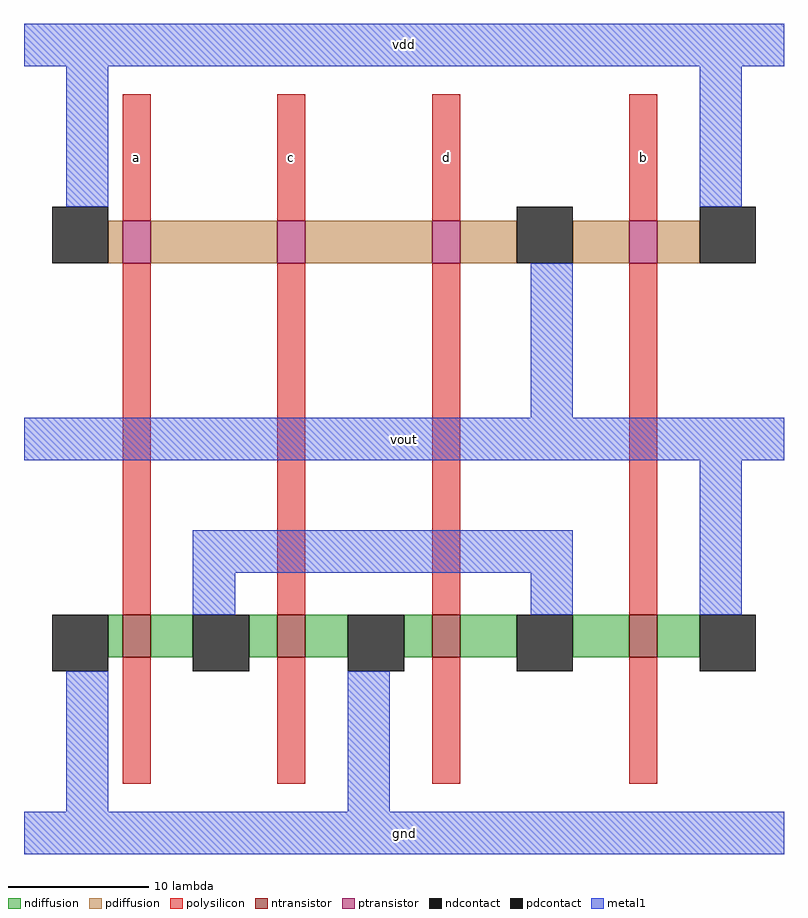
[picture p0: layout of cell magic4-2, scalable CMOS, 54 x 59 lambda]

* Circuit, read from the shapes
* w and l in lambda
.subckt magic4-2 a b c d gnd vdd vout
M1 n1 a gnd VSUBS nfet w=3 l=2
M2 gnd c n1 VSUBS nfet w=3 l=2
M3 n1 d gnd VSUBS nfet w=3 l=2
M4 vout b n1 VSUBS nfet w=3 l=2
M5 n2 a vdd NWELL pfet w=3 l=2
M6 n3 c n2 NWELL pfet w=3 l=2
M7 vout d n3 NWELL pfet w=3 l=2
M8 vdd b vout NWELL pfet w=3 l=2
.ends

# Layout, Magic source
magic
tech scmos
<< polysilicon >>
rect -16 6 -14 15
rect -5 6 -3 15
rect 6 6 8 15
rect 20 6 22 15
rect -16 -22 -14 3
rect -5 -22 -3 3
rect 6 -22 8 3
rect 20 -22 22 3
rect -16 -34 -14 -25
rect -5 -34 -3 -25
rect 6 -34 8 -25
rect 20 -34 22 -25
<< ndiffusion >>
rect -17 -25 -16 -22
rect -14 -25 -11 -22
rect -7 -25 -5 -22
rect -3 -25 0 -22
rect 4 -25 6 -22
rect 8 -25 12 -22
rect 16 -25 20 -22
rect 22 -25 25 -22
<< pdiffusion >>
rect -17 3 -16 6
rect -14 3 -5 6
rect -3 3 6 6
rect 8 3 12 6
rect 16 3 20 6
rect 22 3 25 6
<< metal1 >>
rect -23 17 31 20
rect -20 7 -17 17
rect 25 7 28 17
rect 13 -8 16 3
rect -23 -11 31 -8
rect -11 -19 16 -16
rect -11 -22 -8 -19
rect 13 -22 16 -19
rect 25 -22 28 -11
rect -20 -36 -17 -26
rect 0 -36 3 -26
rect -23 -39 31 -36
<< ntransistor >>
rect -16 -25 -14 -22
rect -5 -25 -3 -22
rect 6 -25 8 -22
rect 20 -25 22 -22
<< ptransistor >>
rect -16 3 -14 6
rect -5 3 -3 6
rect 6 3 8 6
rect 20 3 22 6
<< ndcontact >>
rect -21 -26 -17 -22
rect -11 -26 -7 -22
rect 0 -26 4 -22
rect 12 -26 16 -22
rect 25 -26 29 -22
<< pdcontact >>
rect -21 3 -17 7
rect 12 3 16 7
rect 25 3 29 7
<< labels >>
rlabel metal1 -23 -39 31 -36 7 gnd
rlabel metal1 -23 -11 31 -8 7 vout
rlabel metal1 -23 17 31 20 7 vdd
rlabel polysilicon -16 6 -14 15 1 a
rlabel polysilicon -5 6 -3 15 1 c
rlabel polysilicon 6 6 8 15 1 d
rlabel polysilicon 20 6 22 15 1 b
<< end >>
